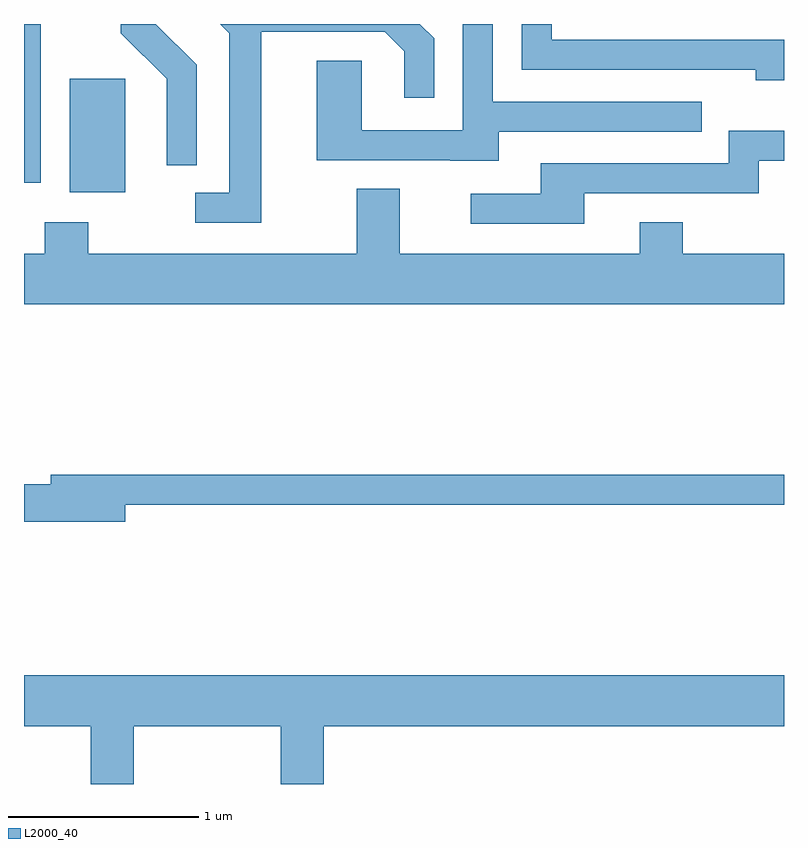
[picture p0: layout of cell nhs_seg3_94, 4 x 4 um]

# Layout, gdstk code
import gdstk
lib = gdstk.Library(unit=1e-6, precision=1e-09)
def R(c, l, rs):  # rectangles x0, y0, x1, y1
    for r in rs: c.add(gdstk.rectangle(r[:2], r[2:], *l))
def P(c, l, *ps):  # polygons
    for p in ps: c.add(gdstk.Polygon(p, *l))
L2000_40 = (2000, 40)

nhs_seg3_94 = lib.new_cell('nhs_seg3_94')
R(nhs_seg3_94, L2000_40, [(187.851,1171.006,188.144,1171.604), (187.611,1171.056,187.699,1171.892)])
P(nhs_seg3_94, L2000_40, [(188.519,1171.677),(188.304,1171.892),(188.121,1171.892),(188.121,1171.844),(188.361,1171.604),(188.361,1171.148),(188.519,1171.148)],
  [(191.611,1171.809),(190.389,1171.809),(190.389,1171.892),(190.231,1171.892),(190.231,1171.651),(191.461,1171.651),(191.461,1171.596),(191.611,1171.596)],
  [(188.859,1171.851),(189.509,1171.851),(189.611,1171.749),(189.611,1171.503),(189.769,1171.503),(189.769,1171.817),(189.694,1171.892),(188.643,1171.892),(188.691,1171.844),(188.691,1171.004),(188.513,1171.004),(188.513,1170.846),(188.859,1170.846)],
  [(190.109,1171.326),(191.178,1171.326),(191.178,1171.484),(190.079,1171.484),(190.079,1171.892),(189.921,1171.892),(189.921,1171.334),(189.389,1171.334),(189.389,1171.699),(189.151,1171.699),(189.151,1171.176),(189.855,1171.176),(189.855,1171.171),(190.109,1171.171)],
  [(190.559,1171.001),(191.479,1171.001),(191.479,1171.171),(191.611,1171.171),(191.611,1171.329),(191.321,1171.329),(191.321,1171.159),(190.331,1171.159),(190.331,1170.999),(189.963,1170.999),(189.963,1170.841),(190.559,1170.841)],
  [(191.611,1170.684),(191.079,1170.684),(191.079,1170.849),(190.851,1170.849),(190.851,1170.684),(189.589,1170.684),(189.589,1171.024),(189.361,1171.024),(189.361,1170.684),(187.949,1170.684),(187.949,1170.849),(187.721,1170.849),(187.721,1170.684),(187.611,1170.684),(187.611,1170.416),(191.611,1170.416)],
  [(188.144,1169.361),(191.611,1169.361),(191.611,1169.519),(187.751,1169.519),(187.751,1169.469),(187.611,1169.469),(187.611,1169.271),(188.144,1169.271)],
  [(188.189,1168.196),(188.961,1168.196),(188.961,1167.892),(189.189,1167.892),(189.189,1168.196),(191.611,1168.196),(191.611,1168.464),(187.611,1168.464),(187.611,1168.196),(187.961,1168.196),(187.961,1167.892),(188.189,1167.892)])

lib.write_gds('nhs_seg3_94.gds')
